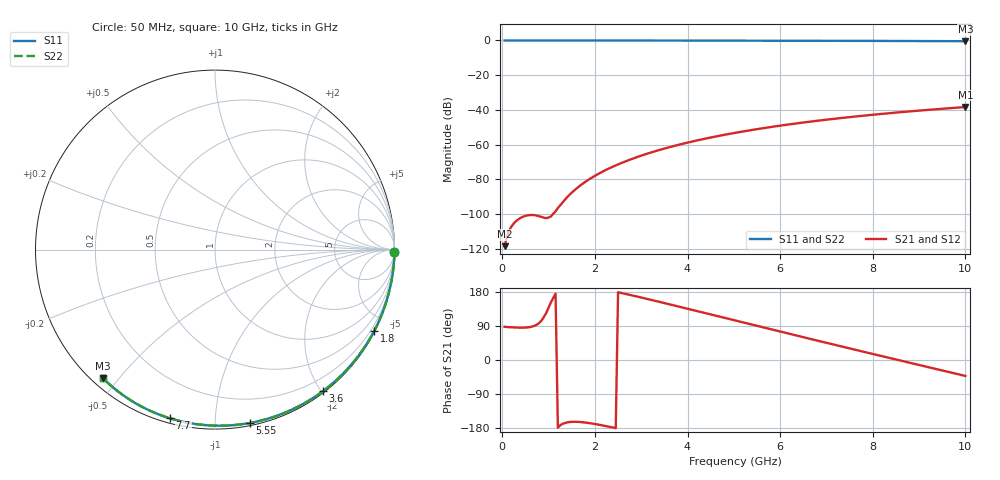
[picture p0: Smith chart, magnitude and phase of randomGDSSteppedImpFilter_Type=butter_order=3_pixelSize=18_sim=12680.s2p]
! freq	dB(S11)	phase(S11)	dB(S12)	phase(S12)
!  dB(S21)	phase(S21)	dB(S22)	phase(S22)
!S-par simulation data
#  GHz  S  DB  R 50
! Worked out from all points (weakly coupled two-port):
!   200 points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, 50 MHz to 10 GHz, reference 50 ohm
!   highest |S21| = -38.41 dB at 10 GHz (marker M1); lowest = -118.6 dB at 50 MHz (marker M2)
!   lowest |S11| = -0.4 dB at 10 GHz (marker M3), VSWR 39.23, Z = 1.54 - j22.6 ohm
!   |S11| at or under -10 dB: nowhere
!   |S22| runs from -0.4 to 0.0 dB; largest |S21 - S12| = 0
!   S11 on the Smith chart (normalised r, x): 50 MHz: open; 1.8 GHz: 0.04, -4.18; 3.6 GHz: 0.02, -2.02; 5.55 GHz: 0.02, -1.22; 7.7 GHz: 0.02, -0.77; 10 GHz: 0.03, -0.45
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0.05  -0.00 -0.8  -118.63 87.7  -118.63 87.7  -0.00 -0.8
0.9  -0.02 -13.6  -102.22 114.0  -102.22 114.0  -0.02 -13.6
1.75  -0.03 -26.2  -82.33 -164.5  -82.33 -164.5  -0.03 -26.2
1.8  -0.03 -26.9  -81.39 -165.2  -81.39 -165.2  -0.03 -26.9
1.85  -0.04 -27.6  -80.51 -166.0  -80.51 -166.0  -0.04 -27.6
1.9  -0.04 -28.4  -79.66 -166.9  -79.66 -166.9  -0.04 -28.4
2.05  -0.04 -30.6  -77.29 -170.0  -77.29 -170.0  -0.04 -30.6
2.25  -0.04 -33.5  -74.50 -174.7  -74.50 -174.7  -0.04 -33.5
2.45  -0.05 -36.4  -72.04 -179.8  -72.04 -179.8  -0.05 -36.4
2.65  -0.05 -39.2  -69.82 174.8  -69.82 174.8  -0.05 -39.2
3  -0.06 -44.2  -66.42 164.9  -66.42 164.9  -0.06 -44.2
3.4  -0.07 -49.8  -63.09 153.2  -63.09 153.2  -0.07 -49.8
3.6  -0.07 -52.6  -61.60 147.3  -61.60 147.3  -0.07 -52.6
4.3  -0.09 -62.2  -57.09 126.3  -57.09 126.3  -0.09 -62.2
5.05  -0.11 -72.1  -53.16 103.7  -53.16 103.7  -0.11 -72.1
5.55  -0.13 -78.6  -50.93 88.6  -50.93 88.6  -0.13 -78.6
6.1  -0.15 -85.5  -48.75 72.1  -48.75 72.1  -0.15 -85.5
6.7  -0.18 -92.9  -46.64 54.2  -46.64 54.2  -0.18 -92.9
7.7  -0.24 -104.9  -43.64 24.7  -43.64 24.7  -0.24 -104.9
8.35  -0.29 -112.5  -41.95 5.7  -41.95 5.7  -0.29 -112.5
9.15  -0.36 -121.7  -40.12 -17.5  -40.12 -17.5  -0.36 -121.7
10  -0.44 -131.2  -38.41 -42.1  -38.41 -42.1  -0.44 -131.2
